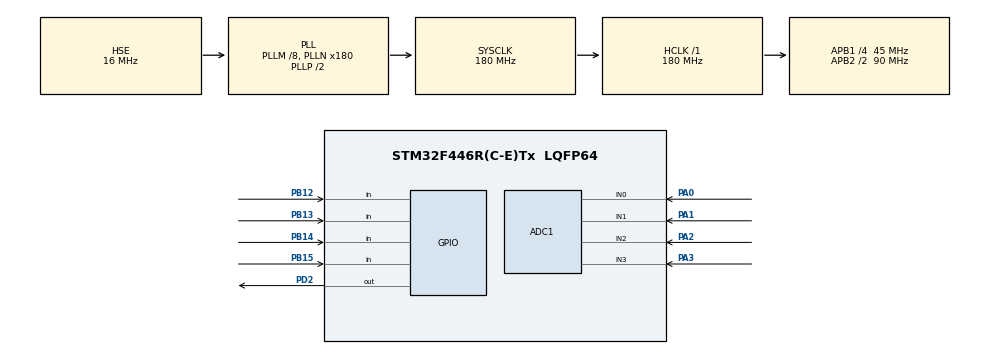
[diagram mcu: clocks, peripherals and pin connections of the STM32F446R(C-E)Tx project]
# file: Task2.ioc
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ADC1.Channel-0\#ChannelRegularConversion=ADC_CHANNEL_0
ADC1.Channel-1\#ChannelRegularConversion=ADC_CHANNEL_1
ADC1.Channel-2\#ChannelRegularConversion=ADC_CHANNEL_2
ADC1.Channel-3\#ChannelRegularConversion=ADC_CHANNEL_3
ADC1.DMAContinuousRequests=ENABLE
ADC1.ExternalTrigConv=ADC_EXTERNALTRIGCONV_T8_TRGO
ADC1.NbrOfConversion=4
ADC1.NbrOfConversionFlag=1
ADC1.Rank-0\#ChannelRegularConversion=1
ADC1.Rank-1\#ChannelRegularConversion=2
ADC1.Rank-2\#ChannelRegularConversion=3
ADC1.Rank-3\#ChannelRegularConversion=4
ADC1.SamplingTime-0\#ChannelRegularConversion=ADC_SAMPLETIME_15CYCLES
ADC1.SamplingTime-1\#ChannelRegularConversion=ADC_SAMPLETIME_15CYCLES
ADC1.SamplingTime-2\#ChannelRegularConversion=ADC_SAMPLETIME_15CYCLES
ADC1.SamplingTime-3\#ChannelRegularConversion=ADC_SAMPLETIME_15CYCLES
ADC1.ScanConvMode=ENABLE
ADC1.master=1
Dma.ADC1.0.Direction=DMA_PERIPH_TO_MEMORY
Dma.ADC1.0.FIFOMode=DMA_FIFOMODE_DISABLE
Dma.ADC1.0.Instance=DMA2_Stream0
Dma.ADC1.0.MemDataAlignment=DMA_MDATAALIGN_WORD
Dma.ADC1.0.MemInc=DMA_MINC_ENABLE
Dma.ADC1.0.Mode=DMA_CIRCULAR
Dma.ADC1.0.PeriphDataAlignment=DMA_PDATAALIGN_WORD
Dma.ADC1.0.PeriphInc=DMA_PINC_DISABLE
Dma.ADC1.0.Priority=DMA_PRIORITY_LOW
Dma.Request0=ADC1
Mcu.Family=STM32F4
Mcu.Name=STM32F446R(C-E)Tx
Mcu.Package=LQFP64
NVIC.ADC_IRQn=true\:0\:0\:false\:false\:true\:true\:true\:true
NVIC.DMA2_Stream0_IRQn=true\:0\:0\:false\:false\:true\:false\:true\:true
NVIC.PriorityGroup=NVIC_PRIORITYGROUP_4
NVIC.TIM8_UP_TIM13_IRQn=true\:0\:0\:false\:false\:true\:true\:true\:true
PA0-WKUP.Signal=ADCx_IN0
PA1.Signal=ADCx_IN1
PA13.Mode=Serial_Wire
PA13.Signal=SYS_JTMS-SWDIO
PA14.Mode=Serial_Wire
PA14.Signal=SYS_JTCK-SWCLK
PA2.Signal=ADCx_IN2
PA3.Signal=ADCx_IN3
PB12.Signal=GPIO_Input
PB13.Signal=GPIO_Input
PB14.Signal=GPIO_Input
PB15.Signal=GPIO_Input
PD2.Signal=GPIO_Output
PH0-OSC_IN.Mode=HSE-External-Oscillator
PH0-OSC_IN.Signal=RCC_OSC_IN
PH1-OSC_OUT.Mode=HSE-External-Oscillator
PH1-OSC_OUT.Signal=RCC_OSC_OUT
ProjectManager.HeapSize=0x200
ProjectManager.StackSize=0x400
ProjectManager.TargetToolchain=STM32CubeIDE
RCC.AHBFreq_Value=180000000
RCC.APB1CLKDivider=RCC_HCLK_DIV4
RCC.APB1Freq_Value=45000000
RCC.APB1TimFreq_Value=90000000
RCC.APB2CLKDivider=RCC_HCLK_DIV2
RCC.APB2Freq_Value=90000000
RCC.APB2TimFreq_Value=180000000
RCC.CortexFreq_Value=180000000
RCC.HCLKFreq_Value=180000000
RCC.HSE_VALUE=16000000
RCC.PLLM=8
RCC.PLLN=180
RCC.PLLSourceVirtual=RCC_PLLSOURCE_HSE
RCC.SYSCLKFreq_VALUE=180000000
RCC.SYSCLKSource=RCC_SYSCLKSOURCE_PLLCLK
RCC.USBFreq_Value=180000000
RCC.VCOOutputFreq_Value=360000000
SH.ADCx_IN0.0=ADC1_IN0,IN0
SH.ADCx_IN1.0=ADC1_IN1,IN1
SH.ADCx_IN2.0=ADC1_IN2,IN2
SH.ADCx_IN3.0=ADC1_IN3,IN3
TIM8.Period=10000-1
TIM8.Prescaler=180-1
TIM8.TIM_MasterOutputTrigger=TIM_TRGO_UPDATE
VP_TIM8_VS_ClockSourceINT.Mode=Internal
board=custom

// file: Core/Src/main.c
/* USER CODE BEGIN Header */
/**
  ******************************************************************************
  * @file           : main.c
  * @brief          : Main program body
  ******************************************************************************
  * @attention
  *
  * Copyright (c) 2024 STMicroelectronics.
  * All rights reserved.
  *
  * This software is licensed under terms that can be found in the LICENSE file
  * in the root directory of this software component.
  * If no LICENSE file comes with this software, it is provided AS-IS.
  *
  ******************************************************************************
  */
/* USER CODE END Header */
#include "main.h"
#include "adc.h"
#include "dma.h"
#include "tim.h"
#include "gpio.h"

/* USER CODE BEGIN PV */
uint32_t adc1_buffer[4] = {0, };
float valueNormalization[10] = {0, }; // Nomarlization Done Ary
float filterNormalization[10] = {0.0, }; // Filtering Save Ary
float resultAvgFilter = 0.0;
float sumAvgFilter = 0.0;
uint8_t cntNormalization = 0;
uint8_t cntFilter = 0;

/* USER CODE END PV */

void SystemClock_Config(void);

int main(void)
{

  /* MCU Configuration--------------------------------------------------------*/

  /* Reset of all peripherals, Initializes the Flash interface and the Systick. */
  HAL_Init();

  /* Configure the system clock */
  SystemClock_Config();

  /* Initialize all configured peripherals */
  MX_GPIO_Init();
  MX_DMA_Init();
  MX_ADC1_Init();
  MX_TIM8_Init();
  /* USER CODE BEGIN 2 */
  HAL_TIM_Base_Start_IT(&htim8);
  HAL_ADC_Start_DMA(&hadc1, adc1_buffer, 4);

  /* USER CODE END 2 */

  /* Infinite loop */
  while (1)
  {

    /* USER CODE BEGIN 3 */
	  if(cntNormalization == 10){
		  resultAvgFilter = 0;
		  sumAvgFilter = 0;
		  cntNormalization = 0;
		  for(uint8_t i = 0; i < 10; i++){
			  if(i == 0){
				  filterNormalization[i] = valueNormalization[i] / 1;
			  }else if(i == 1){
				  filterNormalization[i] = (valueNormalization[i-1] + valueNormalization[i]) / 2;
			  }else if(i == 2){
				  filterNormalization[i] = (valueNormalization[i-2] + valueNormalization[i-1] + valueNormalization[i]) / 3;
			  }else if(2 < i){
				  filterNormalization[i] = (valueNormalization[i-2] + valueNormalization[i-1] + valueNormalization[i]) / 3;
			  }
			  sumAvgFilter = sumAvgFilter + filterNormalization[i];
		  }
		  resultAvgFilter = sumAvgFilter / 10;
	  }

  }
  /* USER CODE END 3 */
}

void SystemClock_Config(void)
{
  RCC_OscInitTypeDef RCC_OscInitStruct = {0};
  RCC_ClkInitTypeDef RCC_ClkInitStruct = {0};

  /** Configure the main internal regulator output voltage
  */
  __HAL_RCC_PWR_CLK_ENABLE();
  __HAL_PWR_VOLTAGESCALING_CONFIG(PWR_REGULATOR_VOLTAGE_SCALE1);

  /** Initializes the RCC Oscillators according to the specified parameters
  * in the RCC_OscInitTypeDef structure.
  */
  RCC_OscInitStruct.OscillatorType = RCC_OSCILLATORTYPE_HSE;
  RCC_OscInitStruct.HSEState = RCC_HSE_ON;
  RCC_OscInitStruct.PLL.PLLState = RCC_PLL_ON;
  RCC_OscInitStruct.PLL.PLLSource = RCC_PLLSOURCE_HSE;
  RCC_OscInitStruct.PLL.PLLM = 8;
  RCC_OscInitStruct.PLL.PLLN = 180;
  RCC_OscInitStruct.PLL.PLLP = RCC_PLLP_DIV2;
  RCC_OscInitStruct.PLL.PLLQ = 2;
  RCC_OscInitStruct.PLL.PLLR = 2;
  if (HAL_RCC_OscConfig(&RCC_OscInitStruct) != HAL_OK)
  {
    Error_Handler();
  }

  /** Activate the Over-Drive mode
  */
  if (HAL_PWREx_EnableOverDrive() != HAL_OK)
  {
    Error_Handler();
  }

  /** Initializes the CPU, AHB and APB buses clocks
  */
  RCC_ClkInitStruct.ClockType = RCC_CLOCKTYPE_HCLK|RCC_CLOCKTYPE_SYSCLK
                              |RCC_CLOCKTYPE_PCLK1|RCC_CLOCKTYPE_PCLK2;
  RCC_ClkInitStruct.SYSCLKSource = RCC_SYSCLKSOURCE_PLLCLK;
  RCC_ClkInitStruct.AHBCLKDivider = RCC_SYSCLK_DIV1;
  RCC_ClkInitStruct.APB1CLKDivider = RCC_HCLK_DIV4;
  RCC_ClkInitStruct.APB2CLKDivider = RCC_HCLK_DIV2;

  if (HAL_RCC_ClockConfig(&RCC_ClkInitStruct, FLASH_LATENCY_5) != HAL_OK)
  {
    Error_Handler();
  }
}

/* USER CODE BEGIN 4 */

void HAL_ADC_ConvCpltCallback(ADC_HandleTypeDef* hadc){
    if(hadc->Instance == hadc1.Instance){
		// Normalization
		valueNormalization[cntNormalization] = (adc1_buffer[0] - 0.0) / (4095.0);
		cntNormalization++;
    }
}
/* USER CODE END 4 */

void Error_Handler(void)
{
  __disable_irq();
  while (1)
  {
  }
}
